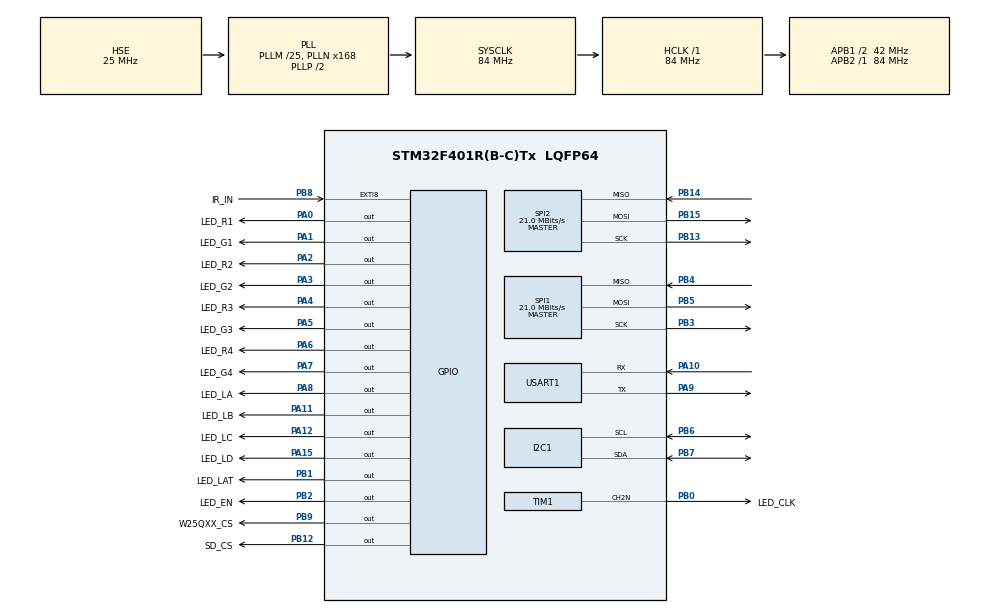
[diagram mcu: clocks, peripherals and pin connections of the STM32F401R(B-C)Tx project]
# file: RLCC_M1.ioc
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Dma.Request0=USART1_RX
Dma.Request1=TIM1_CH2
Dma.TIM1_CH2.1.Direction=DMA_MEMORY_TO_PERIPH
Dma.TIM1_CH2.1.FIFOMode=DMA_FIFOMODE_DISABLE
Dma.TIM1_CH2.1.Instance=DMA2_Stream2
Dma.TIM1_CH2.1.MemDataAlignment=DMA_MDATAALIGN_BYTE
Dma.TIM1_CH2.1.MemInc=DMA_MINC_ENABLE
Dma.TIM1_CH2.1.Mode=DMA_NORMAL
Dma.TIM1_CH2.1.PeriphDataAlignment=DMA_PDATAALIGN_BYTE
Dma.TIM1_CH2.1.PeriphInc=DMA_PINC_DISABLE
Dma.TIM1_CH2.1.Priority=DMA_PRIORITY_MEDIUM
Dma.USART1_RX.0.Direction=DMA_PERIPH_TO_MEMORY
Dma.USART1_RX.0.FIFOMode=DMA_FIFOMODE_DISABLE
Dma.USART1_RX.0.Instance=DMA2_Stream5
Dma.USART1_RX.0.MemDataAlignment=DMA_MDATAALIGN_BYTE
Dma.USART1_RX.0.MemInc=DMA_MINC_ENABLE
Dma.USART1_RX.0.Mode=DMA_CIRCULAR
Dma.USART1_RX.0.PeriphDataAlignment=DMA_PDATAALIGN_BYTE
Dma.USART1_RX.0.PeriphInc=DMA_PINC_DISABLE
Dma.USART1_RX.0.Priority=DMA_PRIORITY_VERY_HIGH
Mcu.Family=STM32F4
Mcu.Name=STM32F401R(B-C)Tx
Mcu.Package=LQFP64
NVIC.DMA2_Stream2_IRQn=true\:0\:0\:false\:false\:true\:false\:true\:true
NVIC.DMA2_Stream5_IRQn=true\:0\:0\:false\:false\:true\:false\:true\:true
NVIC.EXTI9_5_IRQn=true\:0\:0\:false\:false\:true\:true\:true\:true
NVIC.PriorityGroup=NVIC_PRIORITYGROUP_2
NVIC.TIM2_IRQn=true\:0\:0\:false\:false\:true\:true\:true\:true
NVIC.USART1_IRQn=true\:0\:0\:false\:false\:true\:true\:true\:true
PA0-WKUP.GPIO_Label=LED_R1
PA0-WKUP.GPIO_Speed=GPIO_SPEED_FREQ_VERY_HIGH
PA0-WKUP.Signal=GPIO_Output
PA1.GPIO_Label=LED_G1
PA1.GPIO_Speed=GPIO_SPEED_FREQ_VERY_HIGH
PA1.Signal=GPIO_Output
PA10.Mode=Asynchronous
PA10.Signal=USART1_RX
PA11.GPIO_Label=LED_LB
PA11.GPIO_Speed=GPIO_SPEED_FREQ_VERY_HIGH
PA11.Signal=GPIO_Output
PA12.GPIO_Label=LED_LC
PA12.GPIO_Speed=GPIO_SPEED_FREQ_VERY_HIGH
PA12.Signal=GPIO_Output
PA13.Mode=Serial_Wire
PA13.Signal=SYS_JTMS-SWDIO
PA14.Mode=Serial_Wire
PA14.Signal=SYS_JTCK-SWCLK
PA15.GPIO_Label=LED_LD
PA15.GPIO_Speed=GPIO_SPEED_FREQ_VERY_HIGH
PA15.Signal=GPIO_Output
PA2.GPIO_Label=LED_R2
PA2.GPIO_Speed=GPIO_SPEED_FREQ_VERY_HIGH
PA2.Signal=GPIO_Output
PA3.GPIO_Label=LED_G2
PA3.GPIO_Speed=GPIO_SPEED_FREQ_VERY_HIGH
PA3.Signal=GPIO_Output
PA4.GPIO_Label=LED_R3
PA4.GPIO_Speed=GPIO_SPEED_FREQ_VERY_HIGH
PA4.Signal=GPIO_Output
PA5.GPIO_Label=LED_G3
PA5.GPIO_Speed=GPIO_SPEED_FREQ_VERY_HIGH
PA5.Signal=GPIO_Output
PA6.GPIO_Label=LED_R4
PA6.GPIO_Speed=GPIO_SPEED_FREQ_VERY_HIGH
PA6.Signal=GPIO_Output
PA7.GPIO_Label=LED_G4
PA7.GPIO_Speed=GPIO_SPEED_FREQ_VERY_HIGH
PA7.Signal=GPIO_Output
PA8.GPIO_Label=LED_LA
PA8.GPIO_Speed=GPIO_SPEED_FREQ_VERY_HIGH
PA8.Signal=GPIO_Output
PA9.Mode=Asynchronous
PA9.Signal=USART1_TX
PB0.GPIO_Label=LED_CLK
PB0.GPIO_Speed=GPIO_SPEED_FREQ_VERY_HIGH
PB0.Mode=PWM Generation2 CH2N
PB0.Signal=TIM1_CH2N
PB1.GPIO_Label=LED_LAT
PB1.GPIO_Speed=GPIO_SPEED_FREQ_VERY_HIGH
PB1.Signal=GPIO_Output
PB12.GPIO_Label=SD_CS
PB12.PinState=GPIO_PIN_SET
PB12.Signal=GPIO_Output
PB13.Mode=Full_Duplex_Master
PB13.Signal=SPI2_SCK
PB14.Mode=Full_Duplex_Master
PB14.Signal=SPI2_MISO
PB15.Mode=Full_Duplex_Master
PB15.Signal=SPI2_MOSI
PB2.GPIO_Label=LED_EN
PB2.GPIO_Speed=GPIO_SPEED_FREQ_VERY_HIGH
PB2.Signal=GPIO_Output
PB3.Mode=Full_Duplex_Master
PB3.Signal=SPI1_SCK
PB4.Mode=Full_Duplex_Master
PB4.Signal=SPI1_MISO
PB5.Mode=Full_Duplex_Master
PB5.Signal=SPI1_MOSI
PB6.Mode=I2C
PB6.Signal=I2C1_SCL
PB7.Mode=I2C
PB7.Signal=I2C1_SDA
PB8.GPIO_Label=IR_IN
PB8.GPIO_ModeDefaultEXTI=GPIO_MODE_IT_FALLING
PB8.GPIO_PuPd=GPIO_PULLUP
PB8.Signal=GPXTI8
PB9.GPIO_Label=W25QXX_CS
PB9.PinState=GPIO_PIN_SET
PB9.Signal=GPIO_Output
PC14-OSC32_IN.Mode=LSE-External-Oscillator
PC14-OSC32_IN.Signal=RCC_OSC32_IN
PC15-OSC32_OUT.Mode=LSE-External-Oscillator
PC15-OSC32_OUT.Signal=RCC_OSC32_OUT
PH0\ -\ OSC_IN.Mode=HSE-External-Oscillator
PH0\ -\ OSC_IN.Signal=RCC_OSC_IN
PH1\ -\ OSC_OUT.Mode=HSE-External-Oscillator
PH1\ -\ OSC_OUT.Signal=RCC_OSC_OUT
ProjectManager.HeapSize=0x200
ProjectManager.StackSize=0x400
ProjectManager.TargetToolchain=CMake
RCC.48MHZClocksFreq_Value=42000000
RCC.AHBFreq_Value=84000000
RCC.APB1CLKDivider=RCC_HCLK_DIV2
RCC.APB1Freq_Value=42000000
RCC.APB1TimFreq_Value=84000000
RCC.APB2Freq_Value=84000000
RCC.APB2TimFreq_Value=84000000
RCC.CortexFreq_Value=84000000
RCC.HCLKFreq_Value=84000000
RCC.HSE_VALUE=25000000
RCC.HSI_VALUE=16000000
RCC.PLLM=25
RCC.PLLN=168
RCC.PLLSourceVirtual=RCC_PLLSOURCE_HSE
RCC.RCC_RTC_Clock_Source=RCC_RTCCLKSOURCE_LSE
RCC.RCC_RTC_Clock_SourceVirtual=RCC_RTCCLKSOURCE_LSE
RCC.SYSCLKFreq_VALUE=84000000
RCC.SYSCLKSource=RCC_SYSCLKSOURCE_PLLCLK
RCC.VCOOutputFreq_Value=168000000
RTC.Format=RTC_FORMAT_BIN
SPI1.BaudRatePrescaler=SPI_BAUDRATEPRESCALER_4
SPI1.CalculateBaudRate=21.0 MBits/s
SPI1.Direction=SPI_DIRECTION_2LINES
SPI1.Mode=SPI_MODE_MASTER
SPI1.VirtualType=VM_MASTER
SPI2.BaudRatePrescaler=SPI_BAUDRATEPRESCALER_2
SPI2.CalculateBaudRate=21.0 MBits/s
SPI2.Direction=SPI_DIRECTION_2LINES
SPI2.Mode=SPI_MODE_MASTER
SPI2.VirtualType=VM_MASTER
TIM1.AutoReloadPreload=TIM_AUTORELOAD_PRELOAD_ENABLE
TIM1.Channel-PWM\ Generation2\ CH2N=TIM_CHANNEL_2
TIM1.OCMode_PWM-PWM\ Generation2\ CH2N=TIM_OCMODE_PWM2
TIM1.OCNIdleState_2=TIM_OCNIDLESTATE_RESET
TIM1.OCNPolarity_2=TIM_OCNPOLARITY_HIGH
TIM1.Period=9
TIM1.Prescaler=20
TIM1.Pulse-PWM\ Generation2\ CH2N=5
TIM2.AutoReloadPreload=TIM_AUTORELOAD_PRELOAD_ENABLE
TIM2.Period=999
TIM2.Prescaler=83
USART1.VirtualMode=VM_ASYNC
VP_RTC_VS_RTC_Activate.Mode=RTC_Enabled
VP_RTC_VS_RTC_Calendar.Mode=RTC_Calendar
VP_TIM1_VS_ClockSourceINT.Mode=Internal
VP_TIM1_VS_OPM.Mode=OPM_bit
VP_TIM2_VS_ClockSourceINT.Mode=Internal
board=custom

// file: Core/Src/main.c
/* USER CODE BEGIN Header */
/**
 ******************************************************************************
 * @file           : main.c
 * @brief          : Main program body
 ******************************************************************************
 * @attention
 *
 * Copyright (c) 2026 STMicroelectronics.
 * All rights reserved.
 *
 * This software is licensed under terms that can be found in the LICENSE file
 * in the root directory of this software component.
 * If no LICENSE file comes with this software, it is provided AS-IS.
 *
 ******************************************************************************
 */
/* USER CODE END Header */
#include "main.h"
#include "dma.h"
#include "i2c.h"
#include "rtc.h"
#include "spi.h"
#include "tim.h"
#include "usart.h"
#include "gpio.h"

/* USER CODE BEGIN Includes */
#include "app.h"
#include "com_manager.h"
#include "ir_remote.h"
#include "stdio.h"
#include "system_utils.h"

/* USER CODE END Includes */

void SystemClock_Config(void);

int main(void)
{

  /* MCU Configuration--------------------------------------------------------*/

  /* Reset of all peripherals, Initializes the Flash interface and the Systick. */
  HAL_Init();

  /* Configure the system clock */
  SystemClock_Config();

  /* Initialize all configured peripherals */
  MX_GPIO_Init();
  MX_DMA_Init();
  MX_USART1_UART_Init();
  /* 尽早启动 USART1 RX DMA + IDLE：对端（BLE 模块）可能先上电并已发出启动信息，
     RX DMA 必须在外设使能后尽快接管，避免启动窗口内 ORE/数据丢失。
     注意：此行为 CubeMX 生成区手动插入，重新生成工程时需保留。 */
  DWT_Init(); /* 必须早于 COM_Init：IDLE 中断要用 DWT->CYCCNT 打延迟测试时间戳 */
  COM_Init(&huart1);
  MX_I2C1_Init();
  MX_SPI1_Init();
  MX_TIM2_Init();
  MX_TIM1_Init();
  MX_SPI2_Init();
  MX_RTC_Init();
  /* USER CODE BEGIN 2 */
  HAL_TIM_Base_Start_IT(&htim2);

  printf("SYSTEM STARTING...\r\n");
  /* 注：DWT_Init() 已提前到 COM_Init() 之前调用（见上方外设初始化区），
     以保证 USART1 IDLE 中断打点从第一帧起就有效。 */
  App_Init();
  printf("SYSTEM STARTED.\r\n");

  /* USER CODE END 2 */

  /* Infinite loop */
  /* USER CODE BEGIN WHILE */
  while (1) {
    App_Loop();

    /* USER CODE END WHILE */

  }
}

void SystemClock_Config(void)
{
  RCC_OscInitTypeDef RCC_OscInitStruct = {0};
  RCC_ClkInitTypeDef RCC_ClkInitStruct = {0};

  /** Configure the main internal regulator output voltage
  */
  __HAL_RCC_PWR_CLK_ENABLE();
  __HAL_PWR_VOLTAGESCALING_CONFIG(PWR_REGULATOR_VOLTAGE_SCALE2);

  /** Initializes the RCC Oscillators according to the specified parameters
  * in the RCC_OscInitTypeDef structure.
  */
  RCC_OscInitStruct.OscillatorType = RCC_OSCILLATORTYPE_HSE|RCC_OSCILLATORTYPE_LSE;
  RCC_OscInitStruct.HSEState = RCC_HSE_ON;
  RCC_OscInitStruct.LSEState = RCC_LSE_ON;
  RCC_OscInitStruct.PLL.PLLState = RCC_PLL_ON;
  RCC_OscInitStruct.PLL.PLLSource = RCC_PLLSOURCE_HSE;
  RCC_OscInitStruct.PLL.PLLM = 25;
  RCC_OscInitStruct.PLL.PLLN = 168;
  RCC_OscInitStruct.PLL.PLLP = RCC_PLLP_DIV2;
  RCC_OscInitStruct.PLL.PLLQ = 4;
  if (HAL_RCC_OscConfig(&RCC_OscInitStruct) != HAL_OK)
  {
    Error_Handler();
  }

  /** Initializes the CPU, AHB and APB buses clocks
  */
  RCC_ClkInitStruct.ClockType = RCC_CLOCKTYPE_HCLK|RCC_CLOCKTYPE_SYSCLK
                              |RCC_CLOCKTYPE_PCLK1|RCC_CLOCKTYPE_PCLK2;
  RCC_ClkInitStruct.SYSCLKSource = RCC_SYSCLKSOURCE_PLLCLK;
  RCC_ClkInitStruct.AHBCLKDivider = RCC_SYSCLK_DIV1;
  RCC_ClkInitStruct.APB1CLKDivider = RCC_HCLK_DIV2;
  RCC_ClkInitStruct.APB2CLKDivider = RCC_HCLK_DIV1;

  if (HAL_RCC_ClockConfig(&RCC_ClkInitStruct, FLASH_LATENCY_2) != HAL_OK)
  {
    Error_Handler();
  }
}

/* USER CODE BEGIN 4 */

void HAL_GPIO_EXTI_Callback(uint16_t GPIO_Pin) {
  IR_Process_Callback(GPIO_Pin); // 处理红外
}

int __io_putchar(int ch) {
  HAL_UART_Transmit(&huart1, (uint8_t *)&ch, 1, 0xFFFF);
  return ch;
}

/* USER CODE END 4 */

void Error_Handler(void)
{
  __disable_irq();
  while (1) {
  }
}
#ifdef USE_FULL_ASSERT
/**
  * @brief  Reports the name of the source file and the source line number
  *         where the assert_param error has occurred.
  * @param  file: pointer to the source file name
  * @param  line: assert_param error line source number
  * @retval None
  */
void assert_failed(uint8_t *file, uint32_t line)
{
  /* USER CODE BEGIN 6 */
  /* User can add his own implementation to report the file name and line
     number, ex: printf("Wrong parameters value: file %s on line %d\r\n", file,
     line) */
  /* USER CODE END 6 */
}
#endif /* USE_FULL_ASSERT */
